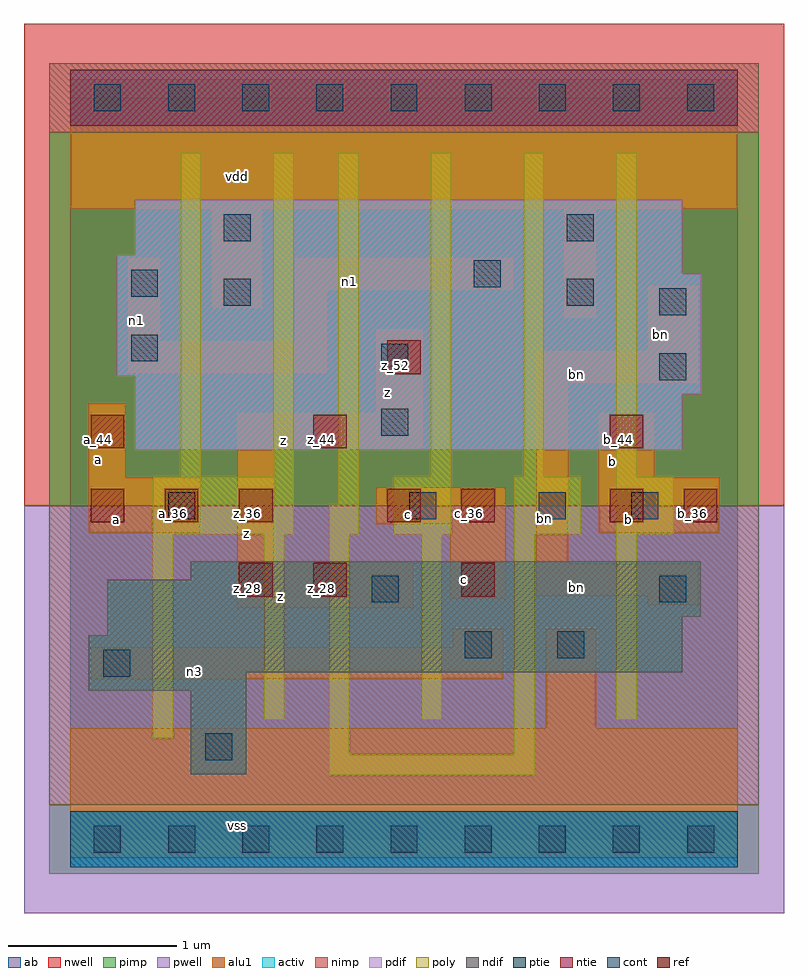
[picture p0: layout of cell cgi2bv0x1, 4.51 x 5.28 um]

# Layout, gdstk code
import gdstk
lib = gdstk.Library(unit=1e-6, precision=2.5e-09)
def R(c, l, rs):  # rectangles x0, y0, x1, y1
    for r in rs: c.add(gdstk.rectangle(r[:2], r[2:], *l))
def A(c, l, x, y, w, h, nx, ny, dx, dy):  # array of equal rectangles
    R(c, l, [(x+i*dx, y+j*dy, x+i*dx+w, y+j*dy+h) for i in range(nx) for j in range(ny)])
ndif = (3, 0)
pdif = (4, 0)
ntie = (5, 0)
ptie = (6, 0)
ref = (24, 0)
cont = (25, 0)
pwell = (41, 0)
nwell = (42, 0)
activ = (43, 0)
pimp = (44, 0)
nimp = (45, 0)
poly = (46, 0)
alu1 = (49, 0)
ab = (63, 0)

cgi2bv0x1 = lib.new_cell('cgi2bv0x1')
R(cgi2bv0x1, ndif, [(0.715,0.385,1.045,0.88), (0.11,0.88,1.045,0.99), (0.11,0.99,3.63,1.21), (0.22,1.21,3.63,1.32), (0.22,1.32,3.74,1.54), (0.715,1.54,3.74,1.65)])
R(cgi2bv0x1, pdif, [(0.385,2.31,3.63,2.64), (0.385,2.64,3.74,2.75), (0.275,2.75,3.74,3.355), (0.275,3.355,3.63,3.465), (0.385,3.465,3.63,3.795)])
R(cgi2bv0x1, ntie, [(0,4.235,3.96,4.565)])
R(cgi2bv0x1, ptie, [(0,-0.165,3.96,0.165)])
A(cgi2bv0x1, ref, 0.12, 1.88, 0.2, 0.2, 3, 1, 0.44, 0)
R(cgi2bv0x1, ref, [(1,1.44,1.2,1.64), (1.44,1.44,1.64,1.64), (2.32,1.44,2.52,1.64), (1.88,1.88,2.08,2.08), (2.32,1.88,2.52,2.08), (3.2,1.88,3.4,2.08), (3.64,1.88,3.84,2.08), (0.12,2.32,0.32,2.52), (1.44,2.32,1.64,2.52), (3.2,2.32,3.4,2.52), (1.88,2.76,2.08,2.96)])
A(cgi2bv0x1, cont, 0.14, -0.08, 0.16, 0.16, 9, 2, 0.44, 4.4)
R(cgi2bv0x1, cont, [(0.8,0.47,0.96,0.63), (0.195,0.965,0.355,1.125), (2.34,1.075,2.5,1.235), (2.89,1.075,3.05,1.235), (1.79,1.405,1.95,1.565), (3.495,1.405,3.655,1.565), (0.58,1.9,0.74,2.06), (2.01,1.9,2.17,2.06), (2.78,1.9,2.94,2.06), (3.33,1.9,3.49,2.06), (1.845,2.395,2.005,2.555), (3.495,2.725,3.655,2.885), (1.845,2.78,2.005,2.94), (0.36,2.835,0.52,2.995), (3.495,3.11,3.655,3.27), (0.91,3.165,1.07,3.325), (2.945,3.165,3.105,3.325), (0.36,3.22,0.52,3.38), (2.395,3.275,2.555,3.435), (0.91,3.55,1.07,3.71), (2.945,3.55,3.105,3.71)])
R(cgi2bv0x1, pwell, [(-0.275,-0.44,4.235,1.98)])
R(cgi2bv0x1, nwell, [(-0.275,1.98,4.235,4.84)])
R(cgi2bv0x1, activ, [(0,-0.165,3.96,0.165), (0.715,0.385,1.045,0.88), (0.11,0.88,1.045,0.99), (0.11,0.99,3.63,1.21), (0.22,1.21,3.63,1.32), (0.22,1.32,3.74,1.54), (0.715,1.54,3.74,1.65), (0.385,2.31,3.63,2.64), (0.385,2.64,3.74,2.75), (0.275,2.75,3.74,3.355), (0.275,3.355,3.63,3.465), (0.385,3.465,3.63,3.795), (0,4.235,3.96,4.565)])
R(cgi2bv0x1, pimp, [(-0.125,-0.205,4.085,0.205), (-0.125,1.98,4.085,4.195)])
R(cgi2bv0x1, nimp, [(-0.125,0.205,4.085,1.98), (-0.125,4.195,4.085,4.605)])
A(cgi2bv0x1, poly, 2.14, 2.15, 0.12, 1.925, 3, 1, 0.55, 0)
R(cgi2bv0x1, poly, [(1.535,0.38,2.755,0.5), (1.535,0.5,1.655,1.81), (2.635,0.5,2.755,1.81), (0.49,0.6,0.61,1.81), (1.15,0.71,1.27,1.81), (2.085,0.71,2.205,1.81), (3.24,0.71,3.36,1.81), (0.49,1.81,1.325,2.15), (1.535,1.81,1.71,1.985), (1.92,1.81,2.26,2.15), (2.635,1.81,3.03,2.15), (3.24,1.81,3.58,2.15), (1.59,1.985,1.71,4.075), (0.655,2.15,0.775,4.075), (1.205,2.15,1.325,4.075)])
R(cgi2bv0x1, alu1, [(0,-0.11,3.96,0.66), (2.82,0.66,3.12,1.25), (0.125,0.95,2.57,1.14), (2.27,1.14,2.57,1.25), (0.99,1.375,2.035,1.65), (3.425,1.39,3.725,1.445), (2.255,1.43,2.585,1.87), (2.765,1.445,3.725,1.635), (2.765,1.635,2.955,2.71), (0.99,1.65,1.21,2.31), (0.11,1.815,0.77,2.145), (3.135,1.815,3.85,2.145), (1.815,1.87,2.585,2.09), (0.11,2.145,0.33,2.585), (3.135,2.145,3.465,2.53), (0.99,2.31,2.09,2.53), (1.815,2.53,2.09,3.025), (2.765,2.71,3.725,2.9), (0.345,2.765,1.525,2.955), (3.425,2.9,3.725,3.285), (0.345,2.955,0.535,3.45), (1.335,2.955,1.525,3.26), (2.93,3.095,3.12,3.74), (0.84,3.15,1.14,3.74), (1.335,3.26,2.625,3.45), (0,3.74,3.96,4.51)])
R(cgi2bv0x1, ab, [(0,0,3.96,4.4)])
cgi2bv0x1.add(gdstk.Label('vss', (0.99,0.0825), layer=49, texttype=0))
cgi2bv0x1.add(gdstk.Label('n3', (0.735,0.9975), layer=49, texttype=0))
cgi2bv0x1.add(gdstk.Label('bn', (3.005,1.4925), layer=49, texttype=0))
cgi2bv0x1.add(gdstk.Label('b', (3.3125,1.8975), layer=49, texttype=0))
cgi2bv0x1.add(gdstk.Label('b', (3.2175,2.24), layer=49, texttype=0))
cgi2bv0x1.add(gdstk.Label('bn', (2.8125,1.9025), layer=49, texttype=0))
cgi2bv0x1.add(gdstk.Label('c', (2.3375,1.54), layer=49, texttype=0))
cgi2bv0x1.add(gdstk.Label('z', (1.25,1.4425), layer=49, texttype=0))
cgi2bv0x1.add(gdstk.Label('c', (2.0075,1.925), layer=49, texttype=0))
cgi2bv0x1.add(gdstk.Label('z', (1.045,1.815), layer=49, texttype=0))
cgi2bv0x1.add(gdstk.Label('a', (0.275,1.8975), layer=49, texttype=0))
cgi2bv0x1.add(gdstk.Label('bn', (3.005,2.7575), layer=49, texttype=0))
cgi2bv0x1.add(gdstk.Label('z', (1.265,2.365), layer=49, texttype=0))
cgi2bv0x1.add(gdstk.Label('bn', (3.5,2.995), layer=49, texttype=0))
cgi2bv0x1.add(gdstk.Label('z', (1.8825,2.6525), layer=49, texttype=0))
cgi2bv0x1.add(gdstk.Label('a', (0.165,2.255), layer=49, texttype=0))
cgi2bv0x1.add(gdstk.Label('n1', (1.6575,3.3075), layer=49, texttype=0))
cgi2bv0x1.add(gdstk.Label('n1', (0.3925,3.0775), layer=49, texttype=0))
cgi2bv0x1.add(gdstk.Label('vdd', (0.99,3.9325), layer=49, texttype=0))
cgi2bv0x1.add(gdstk.Label('b_36', (3.69,1.93), layer=24, texttype=0))
cgi2bv0x1.add(gdstk.Label('c_36', (2.37,1.93), layer=24, texttype=0))
cgi2bv0x1.add(gdstk.Label('b_36', (3.25,1.93), layer=24, texttype=0))
cgi2bv0x1.add(gdstk.Label('b_44', (3.25,2.37), layer=24, texttype=0))
cgi2bv0x1.add(gdstk.Label('a_36', (0.61,1.93), layer=24, texttype=0))
cgi2bv0x1.add(gdstk.Label('z_28', (1.05,1.49), layer=24, texttype=0))
cgi2bv0x1.add(gdstk.Label('z_36', (1.05,1.93), layer=24, texttype=0))
cgi2bv0x1.add(gdstk.Label('z_28', (1.49,1.49), layer=24, texttype=0))
cgi2bv0x1.add(gdstk.Label('z_44', (1.49,2.37), layer=24, texttype=0))
cgi2bv0x1.add(gdstk.Label('c_36', (1.93,1.93), layer=24, texttype=0))
cgi2bv0x1.add(gdstk.Label('z_52', (1.93,2.81), layer=24, texttype=0))
cgi2bv0x1.add(gdstk.Label('a_36', (0.17,1.93), layer=24, texttype=0))
cgi2bv0x1.add(gdstk.Label('a_44', (0.17,2.37), layer=24, texttype=0))
cgi2bv0x1.add(gdstk.Label('c_28', (2.37,1.49), layer=24, texttype=0))

lib.write_gds('cgi2bv0x1.gds')
